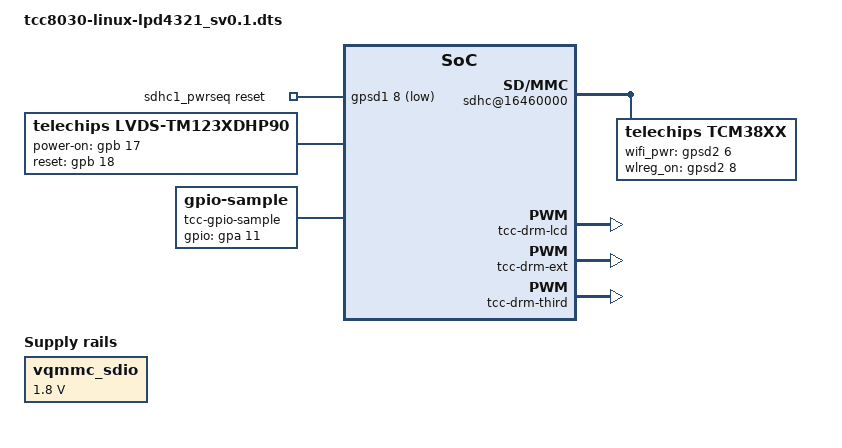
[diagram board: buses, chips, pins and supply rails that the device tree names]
/*
 * Device tree for Telechips TCC8031 AVN board
 *
 * Copyright (C) 2018 Telechips Inc. - http://www.telechips.com
 *
 * This file is dual-licensed: you can use it either under the terms
 * of the GPL or the X11 license, at your option. Note that this dual
 * licensing only applies to this file, and not this project as a
 * whole.
 *
 *  a) This file is free software; you can redistribute it and/or
 *     modify it under the terms of the GNU General Public License as
 *     published by the Free Software Foundation; either version 2 of the
 *     License, or (at your option) any later version.
 *
 *     This file is distributed in the hope that it will be useful,
 *     but WITHOUT ANY WARRANTY; without even the implied warranty of
 *     MERCHANTABILITY or FITNESS FOR A PARTICULAR PURPOSE.  See the
 *     GNU General Public License for more details.
 *
 * Or, alternatively,
 *
 *  b) Permission is hereby granted, free of charge, to any person
 *     obtaining a copy of this software and associated documentation
 *     files (the "Software"), to deal in the Software without
 *     restriction, including without limitation the rights to use,
 *     copy, modify, merge, publish, distribute, sublicense, and/or
 *     sell copies of the Software, and to permit persons to whom the
 *     Software is furnished to do so, subject to the following
 *     conditions:
 *
 *     The above copyright notice and this permission notice shall be
 *     included in all copies or substantial portions of the Software.
 *
 *     THE SOFTWARE IS PROVIDED "AS IS", WITHOUT WARRANTY OF ANY KIND,
 *     EXPRESS OR IMPLIED, INCLUDING BUT NOT LIMITED TO THE WARRANTIES
 *     OF MERCHANTABILITY, FITNESS FOR A PARTICULAR PURPOSE AND
 *     NONINFRINGEMENT. IN NO EVENT SHALL THE AUTHORS OR COPYRIGHT
 *     HOLDERS BE LIABLE FOR ANY CLAIM, DAMAGES OR OTHER LIABILITY,
 *     WHETHER IN AN ACTION OF CONTRACT, TORT OR OTHERWISE, ARISING
 *     FROM, OUT OF OR IN CONNECTION WITH THE SOFTWARE OR THE USE OR
 *     OTHER DEALINGS IN THE SOFTWARE.
 */

/dts-v1/;

#include "tcc8031-linux-avn.dtsi"

/ {
	/* Describe here after remove this statement if you have something to be override. */
	/* SD CARD */
	sdhc1_pwrseq: sdhc1_pwrseq {
		compatible = "mmc-pwrseq-simple";
		reset-gpios = <&gpsd1 8 GPIO_ACTIVE_LOW>;
	};

	sdhc@16450000 {
		broken-cd;
		cd-inverted;
		keep-power-in-suspend;

		wp-gpios = <&gpsd1 7 0>;
		cd-gpios = <&gpsd1 6 0>;

		mmc-pwrseq = <&sdhc1_pwrseq>;
		vqmmc-supply = <&vdd_ldo3>;
	};
	
	/* SDIO */
	vqmmc_sdio: vqmmc_sdio {
		compatible = "regulator-fixed";
		regulator-name = "vqmmc_sdio";
		regulator-min-microvolt = <1800000>;
		regulator-max-microvolt = <1800000>;
		regulator-always-on;
	};

	sdhc@16460000 {
		//non-removable;
		keep-power-in-suspend;
		cap-sdio-irq;

		vqmmc-supply = <&vqmmc_sdio>;

		cd-force-presence-change;

		tcm38xx {
			compatible = "telechips,tcm38xx";
			wifi_pwr-gpio = <&gpsd2 6 0>; /* BT_WIFI_VBAT_EN */
			wlreg_on-gpio = <&gpsd2 8 0>; /* WIFI_REG_ON */
			//wifi_pwr_1p8v-gpio = <&gpsd1 6 0>;
			//wifi_pwr_3p3v-gpio = <&gpsd1 7 0>;
		};
	};

	timer@14300000 {
		/* Timer 0 is used for WIFI LPO */
		tcc-timer-reserved = <0>;
	};

	tm123xdhp90 {
		compatible = "telechips,lvds-tm123xdhp90";
		status = "okay";
		lvds0 = <&lvds_phy>;
		power-on-gpios = <&gpb 17 0>;		// LCD_ON
		reset-gpios = <&gpb 18 0>;		// LCD_RST
		/*
		display-on-gpios = ;		// LCD_DISP
		lvds-stby-gpios = ;		// LCD_DE = LVDS_STBY in LVDS
		lvds-power-gpios = ;		// LVDS_EN
		lvds-power-gpios1 = ;		// V_5V0_EN
		*/
		mode = <1>;		/* 0: single 1: dual */
		ports = <2 3>;

	};

	tcc-drm-lcd {
	        compatible = "telechips,tcc-drm-lcd";
	        display-port-num = <0>;
	        reg = <0x12000000 0x100 0x12000400 0x100 0x12001800 0x100>,
				/* VIOC_REMAP */
				  <0x12000000 0x100 0x12004000 0x100 0x12018000 0x100>;
	        reg-names = "ddc", "rdma", "wmix";
	        interrupts = <GIC_SPI VIOC1_IRQI IRQ_TYPE_LEVEL_HIGH>;
	        interrupt-names = "vsync";
	        clock-names = "ddibus_vioc", "peri_lcd";
	        clocks = <&clk_ddi DDIBUS_VIOC>, <&clk_peri PERI_LCD0>;
	        status = "okay";
		display-timings {
			native-mode = <&timing0>;
			timing0: timing {
				clock-frequency = <88200000>;
				hactive = <1920>;
				vactive = <720>;
				hfront-porch = <28>;
				hback-porch = <28>;
				hsync-len = <8>;
				vback-porch = <10>;
				vfront-porch = <10>;
				vsync-len = <2>;
			};
		};
	};

	tcc-drm-ext {
	        compatible = "telechips,tcc-drm-ext";
	        display-port-num = <1>;
	        reg = <0x12000100 0x100 0x12000800 0x100 0x12001900 0x100>,
				/* VIOC_REMAP */
				  <0x12001000 0x100 0x12008000 0x100 0x12019000 0x100>;
	        reg-names = "ddc", "rdma", "wmix";
	        interrupts = <GIC_SPI VIOC1_IRQI IRQ_TYPE_LEVEL_HIGH>;
	        interrupt-names = "vsync";
	        clock-names = "ddibus_vioc", "peri_lcd";
	        clocks = <&clk_ddi DDIBUS_VIOC>, <&clk_peri PERI_LCD1>;
	        status = "okay";
		display-timings {
			native-mode = <&timing1>;
			timing1: timing {
				clock-frequency = <88200000>;
				hactive = <1920>;
				vactive = <720>;
				hfront-porch = <28>;
				hback-porch = <28>;
				hsync-len = <8>;
				vback-porch = <10>;
				vfront-porch = <10>;
				vsync-len = <2>;
			};
		};
	};

	tcc-drm-third {
	        compatible = "telechips,tcc-drm-third";
	        display-port-num = <2>;
	        reg = <0x12000200 0x100 0x12000C00 0x100 0x12001A00 0x100>,
				/* VIOC_REMAP */
				  <0x12002000 0x100 0x1200C000 0x100 0x1201A000 0x100>;
	        reg-names = "ddc", "rdma", "wmix";
	        interrupts = <GIC_SPI VIOC1_IRQI IRQ_TYPE_LEVEL_HIGH>;
	        interrupt-names = "vsync";
	        clock-names = "ddibus_vioc", "peri_lcd";
	        clocks = <&clk_ddi DDIBUS_VIOC>, <&clk_peri PERI_LCD2>;
	        status = "okay";
		display-timings {
			native-mode = <&timing2>;
			timing2: timing {
				clock-frequency = <51200000>;
				hactive = <1024>;
				vactive = <600>;
				hfront-porch = <147>;
				hback-porch = <147>;
				hsync-len = <19>;
				vback-porch = <10>;
				vfront-porch = <25>;
				vsync-len = <2>;
			};
		};
	};

	vout_drv@1 {
	    rdma = <&vioc_rdma VIOC_RDMA10>;
	    wmix = <&vioc_wmix VIOC_WMIX2>;
	    disp = <&vioc_disp VIOC_DISP2>;
	    subplane_rdma = <&vioc_rdma VIOC_RDMA09>;
		status = "disabled";
	};

	vioc_mgr@0 {
		status = "okay";
	};
	tcc-gpio-sample {
		compatible = "gpio-sample";
		leble = "TCC GPIO";
		gpios = <&gpa 11 0>;
	};
};
